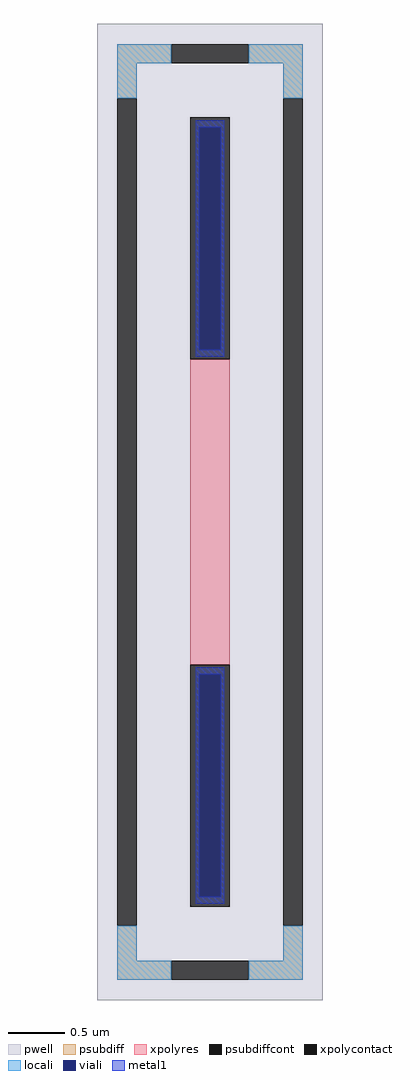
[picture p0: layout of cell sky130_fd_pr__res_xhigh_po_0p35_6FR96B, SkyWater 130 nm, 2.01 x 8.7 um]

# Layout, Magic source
magic
tech sky130A
magscale 1 2
<< pwell >>
rect -201 -870 201 870
<< psubdiff >>
rect -165 800 -69 834
rect 69 800 165 834
rect -165 738 -131 800
rect 131 738 165 800
rect -165 -800 -131 -738
rect 131 -800 165 -738
rect -165 -834 -69 -800
rect 69 -834 165 -800
<< psubdiffcont >>
rect -69 800 69 834
rect -165 -738 -131 738
rect 131 -738 165 738
rect -69 -834 69 -800
<< xpolycontact >>
rect -35 272 35 704
rect -35 -704 35 -272
<< xpolyres >>
rect -35 -272 35 272
<< locali >>
rect -165 800 -69 834
rect 69 800 165 834
rect -165 738 -131 800
rect 131 738 165 800
rect -165 -800 -131 -738
rect 131 -800 165 -738
rect -165 -834 -69 -800
rect 69 -834 165 -800
<< viali >>
rect -19 289 19 686
rect -19 -686 19 -289
<< metal1 >>
rect -25 686 25 698
rect -25 289 -19 686
rect 19 289 25 686
rect -25 277 25 289
rect -25 -289 25 -277
rect -25 -686 -19 -289
rect 19 -686 25 -289
rect -25 -698 25 -686
<< properties >>
string FIXED_BBOX -148 -817 148 817
string gencell sky130_fd_pr__res_xhigh_po_0p35
string library sky130
string parameters w 0.350 l 2.88 m 1 nx 1 wmin 0.350 lmin 0.50 rho 2000 val 17.532k dummy 0 dw 0.0 term 188.2 sterm 0.0 caplen 0 wmax 0.350 guard 1 glc 1 grc 1 gtc 1 gbc 1 compatible {sky130_fd_pr__res_xhigh_po_0p35  sky130_fd_pr__res_xhigh_po_0p69 sky130_fd_pr__res_xhigh_po_1p41  sky130_fd_pr__res_xhigh_po_2p85 sky130_fd_pr__res_xhigh_po_5p73} snake 0 full_metal 1 n_guard 0 hv_guard 0 vias 1 viagb 0 viagt 0 viagl 0 viagr 0
<< end >>
